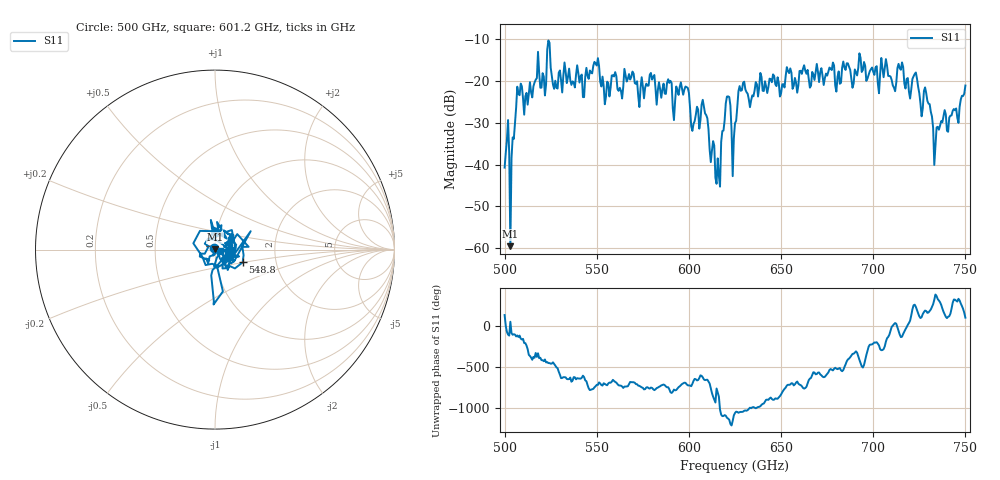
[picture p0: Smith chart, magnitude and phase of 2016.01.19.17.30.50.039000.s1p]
!Created with skrf (http://scikit-rf.org).
# GHz S RI R 50.0
!freq ReS11 ImS11
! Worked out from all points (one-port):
!   401 points, 500 GHz to 750 GHz, reference 50 ohm
!   lowest |S11| = -59.5 dB at 503.1 GHz (marker M1), VSWR 1.00, Z = 50.1 + j0.0798 ohm
!   |S11| at or under -10 dB: start of sweep to end of sweep
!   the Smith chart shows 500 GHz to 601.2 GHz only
!   S11 on the Smith chart (normalised r, x): 500 GHz: 0.99, +0.01; 548.8 GHz: 1.35, -0.20; 601.2 GHz: 1.06, -0.01
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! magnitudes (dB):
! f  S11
! 500 GHz  -40.7
! 503.1 GHz  -59.5
! 504.4 GHz  -33.5
! 508.1 GHz  -23.4
! 521.2 GHz  -18.9
! 524.4 GHz  -10.9
! 527.5 GHz  -19.9
! 531.2 GHz  -22.7
! 548.8 GHz  -15.4
! 562.5 GHz  -21.6
! 568.8 GHz  -19.0
! 593.8 GHz  -22.2
! 598.8 GHz  -21.5
! 601.2 GHz  -30.8
! 608.1 GHz  -26.1
! 615.6 GHz  -38.5
! 621.2 GHz  -23.7
! 625 GHz  -30.1
! 628.8 GHz  -22.2
! 656.2 GHz  -21.9
! 687.5 GHz  -17.3
! 705.6 GHz  -19.1
! 711.2 GHz  -21.6
! 715 GHz  -17.3
! 718.8 GHz  -19.3
! 728.8 GHz  -22.9
! 734.4 GHz  -31.1
! 750 GHz  -21.1
